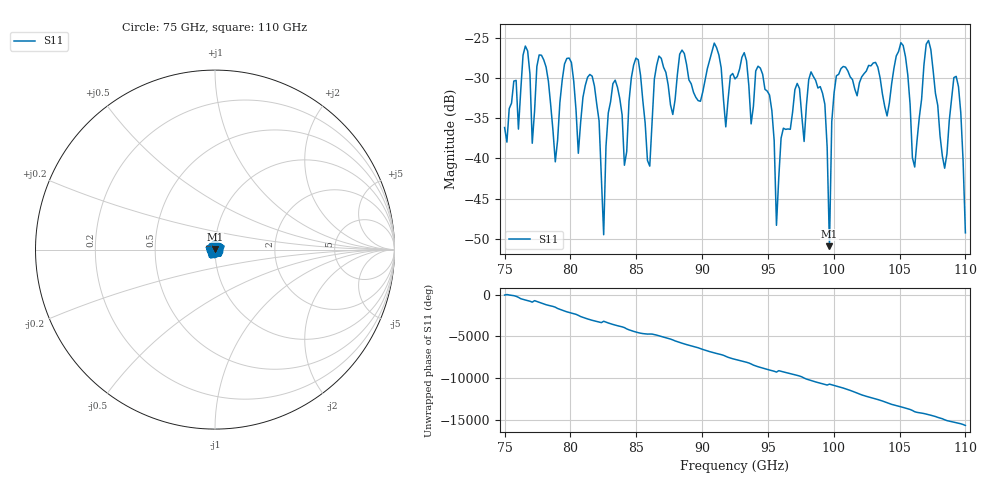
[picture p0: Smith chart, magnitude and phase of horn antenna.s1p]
!Created with mwavepy.
# GHz S RI R 50.0
!freq	ReS11	ImS11
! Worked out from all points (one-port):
!   201 points, 75 GHz to 110 GHz, reference 50 ohm
!   lowest |S11| = -50.9 dB at 99.67 GHz (marker M1), VSWR 1.01, Z = 50 + j0.283 ohm
!   |S11| at or under -10 dB: start of sweep to end of sweep
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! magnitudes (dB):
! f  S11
! 75 GHz  -36.2
! 77.8 GHz  -27.2
! 78.85 GHz  -40.4
! 79.37 GHz  -30.3
! 80.6 GHz  -39.4
! 81.65 GHz  -29.8
! 82.52 GHz  -49.5
! 82.87 GHz  -34.3
! 83.75 GHz  -32.6
! 84.1 GHz  -40.9
! 85.15 GHz  -27.7
! 86.02 GHz  -41.0
! 86.72 GHz  -27.3
! 88.12 GHz  -29.5
! 92.5 GHz  -30.1
! 95.12 GHz  -32.1
! 95.65 GHz  -48.3
! 96.87 GHz  -34.2
! 99.15 GHz  -31.9
! 99.67 GHz  -50.9
! 100 GHz  -31.9
! 101.2 GHz  -29.9
! 105.6 GHz  -29.6
! 106.1 GHz  -41.1
! 107.2 GHz  -25.3
! 108.4 GHz  -41.2
! 109.3 GHz  -29.8
! 110 GHz  -49.3
